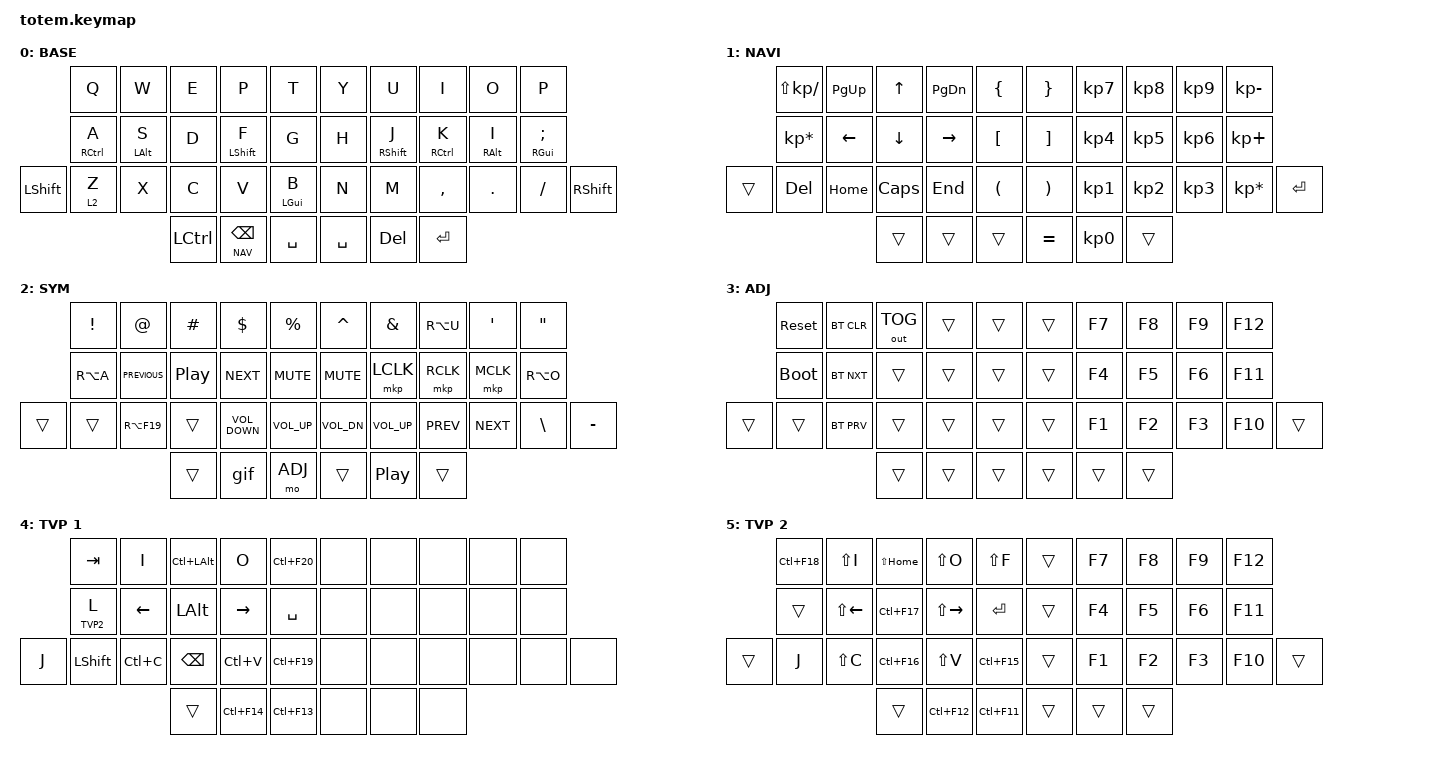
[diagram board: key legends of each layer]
//
//                                                        ▀▀▀▀▀     ▀▀▀▀▀          ▀▀█▀▀
//                                                        ▄▀▀▀▄  ▄  ▄▀▀▀▄  ▄  ▄▀▀▀▄  █  ▄▀▀▀▄
//                                                        █   █  █  █   █  █  █   █  █  █   █
//                                                         ▀▀▀   █   ▀▀▀   █   ▀▀▀   ▀   ▀▀▀
//                                                               █      ▄▄▄█▄▄▄    █   █  
//                                                               ▀      █  █  █     █▄█
//                                                             ▀▀▀▀▀    █  █  █      ▀
//                                                                      ▀  ▀  ▀
//
// ▄▄▄▄▄▄▄▄▄▄▄▄▄▄▄▄▄▄▄▄▄▄▄▄▄▄▄▄▄▄▄▄▄▄▄▄▄▄▄▄▄▄▄▄▄▄▄▄▄▄▄▄▄▄▄▄▄▄▄▄▄▄▄▄▄▄▄▄▄▄▄▄▄▄▄▄▄▄▄▄▄▄▄▄▄▄▄▄▄▄▄▄▄▄▄▄▄▄▄▄▄▄▄▄▄▄▄▄▄▄▄▄▄▄▄▄▄▄▄▄▄▄▄▄▄▄▄▄▄▄▄▄▄▄▄▄▄▄▄▄▄▄▄▄▄▄▄▄▄

#include <behaviors.dtsi>
#include <dt-bindings/zmk/bt.h>
#include <dt-bindings/zmk/keys.h>
#include <dt-bindings/zmk/outputs.h>
#include <dt-bindings/zmk/pointing.h>

#define BASE 0
#define NAV  1
#define SYM  2
#define ADJ  3
#define TVP1 4
#define TVP2 5

&mt {
    quick-tap-ms = <100>;
    global-quick-tap;
    flavor = "tap-preferred";
    tapping-term-ms = <170>;
};

/ {
    combos {
        compatible = "zmk,combos";

        combo_esc {
            timeout-ms = <50>;
            key-positions = <0 1>;
            bindings = <&kp ESC>;
        };

        combo_COPY {
            timeout-ms = <100>;
            key-positions = <22 23>;
            bindings = <&kp RC(C)>;
        };

        PAST {
            bindings = <&kp LC(V)>;
            key-positions = <23 24>;
        };

        CLIP {
            bindings = <&kp LC(X)>;
            key-positions = <21 22>;
        };

        UNGROUP {
            bindings = <&kp LA(LC(S))>;
            key-positions = <20 10>;
        };

        BACK_PAGE {
            bindings = <&kp LA(LEFT_ARROW)>;
            key-positions = <15 16>;
        };
    };

    macros {
        gif: gif {
            label = "giphy";
            compatible = "zmk,behavior-macro";
            #binding-cells = <0>;
            bindings =
                <&macro_press>,
                <&kp LSHFT>,
                <&macro_tap>,
                <&kp N2>,
                <&macro_release>,
                <&kp LSHFT>,
                <&macro_tap>,
                <&kp G &kp I &kp F>;
        };
    };

    keymap {
        compatible = "zmk,keymap";

        // ▄▄▄▄▄▄▄▄▄▄▄▄▄▄▄▄▄▄▄▄▄▄▄▄▄▄▄▄▄▄▄▄▄▄▄▄▄▄▄▄▄▄▄▄▄▄▄▄▄▄▄▄▄▄▄▄▄▄▄▄▄▄▄▄▄▄▄▄▄▄▄▄▄▄▄▄▄▄▄▄▄▄▄▄▄▄▄▄▄▄▄▄▄▄▄▄▄▄▄▄▄▄▄▄▄▄▄▄▄▄▄▄▄▄▄▄▄▄▄▄▄▄▄▄▄▄▄▄▄▄▄▄▄▄▄▄▄▄▄▄▄▄▄▄▄▄▄▄▄

        base_layer {
            // ┏━━━━━━━━━━━━━━━━━━━━━━━━━━━━━━━━━━━━━━━┓

            label = "BASE";

            // ┗━━━━━━━━━━━━━━━━━━━━━━━━━━━━━━━━━━━━━━━┛
            //             ┏━━━━━━━━━━━┳━━━━━━━━━━━┳━━━━━━━━━━━┳━━━━━━━━━━━┳━━━━━━━━━━━┓   ┏━━━━━━━━━━━┳━━━━━━━━━━━┳━━━━━━━━━━━┳━━━━━━━━━━━┳━━━━━━━━━━━┓
            //             ┃     Q     ┃     W     ┃     F     ┃     P     ┃     G     ┃   ┃     J     ┃     L     ┃     U     ┃     Y     ┃     ;     ┃
            //             ┣━━━━━━━━━━━╋━━━━━━━━━━━╋━━━━━━━━━━━╋━━━━━━━━━━━╋━━━━━━━━━━━┫   ┣━━━━━━━━━━━╋━━━━━━━━━━━╋━━━━━━━━━━━╋━━━━━━━━━━━╋━━━━━━━━━━━┫
            //             ┃     A     ┃     R     ┃     S     ┃     T     ┃     D     ┃   ┃     H     ┃     N     ┃     E     ┃     I     ┃     O     ┃
            // ┏━━━━━━━━━━━╋━━━━━━━━━━━╋━━━━━━━━━━━╋━━━━━━━━━━━╋━━━━━━━━━━━╋━━━━━━━━━━━┫   ┣━━━━━━━━━━━╋━━━━━━━━━━━╋━━━━━━━━━━━╋━━━━━━━━━━━╋━━━━━━━━━━━╋━━━━━━━━━━━┓
            // ┃     Q     ┃     Z     ┃     X     ┃     C     ┃     V     ┃     B     ┃   ┃     K     ┃     M     ┃     ,     ┃     .     ┃     /     ┃     \     ┃
            // ┗━━━━━━━━━━━┻━━━━━━━━━━━┻━━━━━━━━━━━╋━━━━━━━━━━━╋━━━━━━━━━━━╋━━━━━━━━━━━┫   ┣━━━━━━━━━━━╋━━━━━━━━━━━╋━━━━━━━━━━━╋━━━━━━━━━━━┻━━━━━━━━━━━┻━━━━━━━━━━━┛
            //                                     ┃    DEL    ┃    TAB    ┃    SPC    ┃   ┃   ENTER   ┃           ┃   BSPC    ┃
            //                                     ┗━━━━━━━━━━━┻━━━━━━━━━━━┻━━━━━━━━━━━┛   ┗━━━━━━━━━━━┻━━━━━━━━━━━┻━━━━━━━━━━━┛

            bindings = <
                &kp Q        &kp W       &kp E      &kp P              &kp T             &kp Y      &kp U        &kp I        &kp O       &kp P
                &mt RCTRL A  &mt LALT S  &kp D      &mt LSHFT F        &kp G             &kp H      &mt RSHFT J  &mt RCTRL K  &mt RALT I  &mt RGUI SEMICOLON
&kp LEFT_SHIFT  &lt 2 Z      &kp X       &kp C      &kp V              &mt LEFT_GUI B    &kp N      &kp M        &kp COMMA    &kp DOT     &kp FSLH            &kp RIGHT_SHIFT
                                         &kp LCTRL  &lt NAV BACKSPACE  &kp SPACE         &kp SPACE  &kp DELETE   &kp ENTER
            >;
        };

        // ▄▄▄▄▄▄▄▄▄▄▄▄▄▄▄▄▄▄▄▄▄▄▄▄▄▄▄▄▄▄▄▄▄▄▄▄▄▄▄▄▄▄▄▄▄▄▄▄▄▄▄▄▄▄▄▄▄▄▄▄▄▄▄▄▄▄▄▄▄▄▄▄▄▄▄▄▄▄▄▄▄▄▄▄▄▄▄▄▄▄▄▄▄▄▄▄▄▄▄▄▄▄▄▄▄▄▄▄▄▄▄▄▄▄▄▄▄▄▄▄▄▄▄▄▄▄▄▄▄▄▄▄▄▄▄▄▄▄▄▄▄▄▄▄▄▄▄▄▄

        nav_layer {
            // ┏━━━━━━━━━━━━━━━━━━━━━━━━━━━━━━━━━━━━━━━┓

            label = "NAVI";

            // ┗━━━━━━━━━━━━━━━━━━━━━━━━━━━━━━━━━━━━━━━┛
            //             ┏━━━━━━━━━━━┳━━━━━━━━━━━┳━━━━━━━━━━━┳━━━━━━━━━━━┳━━━━━━━━━━━┓   ┏━━━━━━━━━━━┳━━━━━━━━━━━┳━━━━━━━━━━━┳━━━━━━━━━━━┳━━━━━━━━━━━┓
            //             ┃           ┃           ┃     UP    ┃           ┃     {     ┃   ┃     }     ┃     7     ┃     8     ┃     9     ┃     +     ┃
            //             ┣━━━━━━━━━━━╋━━━━━━━━━━━╋━━━━━━━━━━━╋━━━━━━━━━━━╋━━━━━━━━━━━┫   ┣━━━━━━━━━━━╋━━━━━━━━━━━╋━━━━━━━━━━━╋━━━━━━━━━━━╋━━━━━━━━━━━┫
            //             ┃   SHIFT   ┃   LEFT    ┃    DOWN   ┃   RIGHT   ┃     [     ┃   ┃     ]     ┃     4     ┃     5     ┃     6     ┃     -     ┃
            // ┏━━━━━━━━━━━╋━━━━━━━━━━━╋━━━━━━━━━━━╋━━━━━━━━━━━╋━━━━━━━━━━━╋━━━━━━━━━━━┫   ┣━━━━━━━━━━━╋━━━━━━━━━━━╋━━━━━━━━━━━╋━━━━━━━━━━━╋━━━━━━━━━━━╋━━━━━━━━━━━┓
            // ┃           ┃           ┃   P UP    ┃  C LOCK   ┃  P DOWN   ┃     (     ┃   ┃     )     ┃     1     ┃     2     ┃     3     ┃     *     ┃           ┃
            // ┗━━━━━━━━━━━┻━━━━━━━━━━━┻━━━━━━━━━━━╋━━━━━━━━━━━╋━━━━━━━━━━━╋━━━━━━━━━━━┫   ┣━━━━━━━━━━━╋━━━━━━━━━━━╋━━━━━━━━━━━╋━━━━━━━━━━━┻━━━━━━━━━━━┻━━━━━━━━━━━┛
            //                                     ┃           ┃    TAB    ┃    SPC    ┃   ┃    DEL    ┃     0     ┃           ┃
            //                                     ┗━━━━━━━━━━━┻━━━━━━━━━━━┻━━━━━━━━━━━┛   ┗━━━━━━━━━━━┻━━━━━━━━━━━┻━━━━━━━━━━━┛

            bindings = <
        &kp LS(KP_DIVIDE)  &kp PAGE_UP  &kp UP    &kp PAGE_DOWN  &kp LBRC    &kp RBRC   &kp KP_N7  &kp KP_N8  &kp KP_N9  &kp KP_MINUS
        &kp KP_MULTIPLY    &kp LEFT     &kp DOWN  &kp RIGHT      &kp LBKT    &kp RBKT   &kp KP_N4  &kp KP_N5  &kp KP_N6  &kp KP_PLUS
&trans  &kp DEL            &kp HOME     &kp CAPS  &kp END        &kp LPAR    &kp RPAR   &kp KP_N1  &kp KP_N2  &kp KP_N3  &kp KP_MULTIPLY  &kp ENTER
                                        &trans    &trans         &trans      &kp EQUAL  &kp KP_N0  &trans
            >;
        };

        // ▄▄▄▄▄▄▄▄▄▄▄▄▄▄▄▄▄▄▄▄▄▄▄▄▄▄▄▄▄▄▄▄▄▄▄▄▄▄▄▄▄▄▄▄▄▄▄▄▄▄▄▄▄▄▄▄▄▄▄▄▄▄▄▄▄▄▄▄▄▄▄▄▄▄▄▄▄▄▄▄▄▄▄▄▄▄▄▄▄▄▄▄▄▄▄▄▄▄▄▄▄▄▄▄▄▄▄▄▄▄▄▄▄▄▄▄▄▄▄▄▄▄▄▄▄▄▄▄▄▄▄▄▄▄▄▄▄▄▄▄▄▄▄▄▄▄▄▄▄

        sim_layer {
            // ┏━━━━━━━━━━━━━━━━━━━━━━━━━━━━━━━━━━━━━━━┓

            label = "SYM";

            // ┗━━━━━━━━━━━━━━━━━━━━━━━━━━━━━━━━━━━━━━━┛
            //             ┏━━━━━━━━━━━┳━━━━━━━━━━━┳━━━━━━━━━━━┳━━━━━━━━━━━┳━━━━━━━━━━━┓   ┏━━━━━━━━━━━┳━━━━━━━━━━━┳━━━━━━━━━━━┳━━━━━━━━━━━┳━━━━━━━━━━━┓
            //             ┃     !     ┃     @     ┃     #     ┃     $     ┃     %     ┃   ┃     ˆ     ┃     &     ┃     Ü     ┃     '     ┃     "     ┃
            //             ┣━━━━━━━━━━━╋━━━━━━━━━━━╋━━━━━━━━━━━╋━━━━━━━━━━━╋━━━━━━━━━━━┫   ┣━━━━━━━━━━━╋━━━━━━━━━━━╋━━━━━━━━━━━╋━━━━━━━━━━━╋━━━━━━━━━━━┫
            //             ┃     Ä     ┃           ┃    SZ     ┃           ┃           ┃   ┃   MUTE    ┃   YEN     ┃   EURO    ┃  POUND    ┃     Ö     ┃
            // ┏━━━━━━━━━━━╋━━━━━━━━━━━╋━━━━━━━━━━━╋━━━━━━━━━━━╋━━━━━━━━━━━╋━━━━━━━━━━━┫   ┣━━━━━━━━━━━╋━━━━━━━━━━━╋━━━━━━━━━━━╋━━━━━━━━━━━╋━━━━━━━━━━━╋━━━━━━━━━━━┓
            // ┃           ┃  EMAIL1   ┃  EMAIL2   ┃           ┃           ┃           ┃   ┃   VOL-    ┃   VOL+    ┃   LAST    ┃   NEXT    ┃     \     ┃           ┃
            // ┗━━━━━━━━━━━┻━━━━━━━━━━━┻━━━━━━━━━━━╋━━━━━━━━━━━╋━━━━━━━━━━━╋━━━━━━━━━━━┫   ┣━━━━━━━━━━━╋━━━━━━━━━━━╋━━━━━━━━━━━╋━━━━━━━━━━━┻━━━━━━━━━━━┻━━━━━━━━━━━┛
            //                                     ┃           ┃    GIF    ┃    ADJ    ┃   ┃           ┃           ┃           ┃
            //                                     ┗━━━━━━━━━━━┻━━━━━━━━━━━┻━━━━━━━━━━━┛   ┗━━━━━━━━━━━┻━━━━━━━━━━━┻━━━━━━━━━━━┛

            bindings = <
        &kp EXCL   &kp AT          &kp HASH          &kp DLLR           &kp PRCNT          &kp CARET     &kp AMPS      &kp RA(U)   &kp SQT     &kp DQT
        &kp RA(A)  &kp C_PREVIOUS  &kp C_PLAY_PAUSE  &kp C_NEXT         &kp K_MUTE         &kp C_MUTE    &mkp LCLK     &mkp RCLK   &mkp MCLK   &kp RA(O)
&trans  &trans     &kp RA(F19)     &trans            &kp C_VOLUME_DOWN  &kp C_VOLUME_UP    &kp C_VOL_DN  &kp C_VOL_UP  &kp C_PREV  &kp C_NEXT  &kp BSLH   &kp MINUS
                                   &trans            &gif               &mo ADJ            &trans        &kp C_PP      &trans
            >;
        };

        // ▄▄▄▄▄▄▄▄▄▄▄▄▄▄▄▄▄▄▄▄▄▄▄▄▄▄▄▄▄▄▄▄▄▄▄▄▄▄▄▄▄▄▄▄▄▄▄▄▄▄▄▄▄▄▄▄▄▄▄▄▄▄▄▄▄▄▄▄▄▄▄▄▄▄▄▄▄▄▄▄▄▄▄▄▄▄▄▄▄▄▄▄▄▄▄▄▄▄▄▄▄▄▄▄▄▄▄▄▄▄▄▄▄▄▄▄▄▄▄▄▄▄▄▄▄▄▄▄▄▄▄▄▄▄▄▄▄▄▄▄▄▄▄▄▄▄▄▄▄

        adjust_layer {
            // ┏━━━━━━━━━━━━━━━━━━━━━━━━━━━━━━━━━━━━━━━┓

            label = "ADJ";

            // ┗━━━━━━━━━━━━━━━━━━━━━━━━━━━━━━━━━━━━━━━┛
            //             ┏━━━━━━━━━━━┳━━━━━━━━━━━┳━━━━━━━━━━━┳━━━━━━━━━━━┳━━━━━━━━━━━┓   ┏━━━━━━━━━━━┳━━━━━━━━━━━┳━━━━━━━━━━━┳━━━━━━━━━━━┳━━━━━━━━━━━┓
            //             ┃   RESET   ┃ BT CLEAR  ┃  OUT TOG  ┃           ┃           ┃   ┃           ┃    F7     ┃    F8     ┃    F9     ┃    F12    ┃
            //             ┣━━━━━━━━━━━╋━━━━━━━━━━━╋━━━━━━━━━━━╋━━━━━━━━━━━╋━━━━━━━━━━━┫   ┣━━━━━━━━━━━╋━━━━━━━━━━━╋━━━━━━━━━━━╋━━━━━━━━━━━╋━━━━━━━━━━━┫
            //             ┃ BOOTLOAD  ┃ BT NEXT   ┃           ┃           ┃           ┃   ┃           ┃    F4     ┃    F5     ┃    F6     ┃    F11    ┃
            // ┏━━━━━━━━━━━╋━━━━━━━━━━━╋━━━━━━━━━━━╋━━━━━━━━━━━╋━━━━━━━━━━━╋━━━━━━━━━━━┫   ┣━━━━━━━━━━━╋━━━━━━━━━━━╋━━━━━━━━━━━╋━━━━━━━━━━━╋━━━━━━━━━━━╋━━━━━━━━━━━┓
            // ┃           ┃           ┃ BT PREV   ┃           ┃           ┃           ┃   ┃           ┃    F1     ┃    F2     ┃    F3     ┃    F10    ┃           ┃
            // ┗━━━━━━━━━━━┻━━━━━━━━━━━┻━━━━━━━━━━━╋━━━━━━━━━━━╋━━━━━━━━━━━╋━━━━━━━━━━━┫   ┣━━━━━━━━━━━╋━━━━━━━━━━━╋━━━━━━━━━━━╋━━━━━━━━━━━┻━━━━━━━━━━━┻━━━━━━━━━━━┛
            //                                     ┃           ┃           ┃           ┃   ┃           ┃           ┃           ┃
            //                                     ┗━━━━━━━━━━━┻━━━━━━━━━━━┻━━━━━━━━━━━┛   ┗━━━━━━━━━━━┻━━━━━━━━━━━┻━━━━━━━━━━━┛

            bindings = <
        &sys_reset   &bt BT_CLR  &out OUT_TOG  &trans  &trans    &trans  &kp F7  &kp F8  &kp F9  &kp F12
        &bootloader  &bt BT_NXT  &trans        &trans  &trans    &trans  &kp F4  &kp F5  &kp F6  &kp F11
&trans  &trans       &bt BT_PRV  &trans        &trans  &trans    &trans  &kp F1  &kp F2  &kp F3  &kp F10  &trans
                                 &trans        &trans  &trans    &trans  &trans  &trans
            >;
        };

        // ▄▄▄▄▄▄▄▄▄▄▄▄▄▄▄▄▄▄▄▄▄▄▄▄▄▄▄▄▄▄▄▄▄▄▄▄▄▄▄▄▄▄▄▄▄▄▄▄▄▄▄▄▄▄▄▄▄▄▄▄▄▄▄▄▄▄▄▄▄▄▄▄▄▄▄▄▄▄▄▄▄▄▄▄▄▄▄▄▄▄▄▄▄▄▄▄▄▄▄▄▄▄▄▄▄▄▄▄▄▄▄▄▄▄▄▄▄▄▄▄▄▄▄▄▄▄▄▄▄▄▄▄▄▄▄▄▄▄▄▄▄▄▄▄▄▄▄▄▄

        tvp1_layer {
            // ┏━━━━━━━━━━━━━━━━━━━━━━━━━━━━━━━━━━━━━━━┓

            label = "TVP 1";

            // ┗━━━━━━━━━━━━━━━━━━━━━━━━━━━━━━━━━━━━━━━┛
            //             ┏━━━━━━━━━━━┳━━━━━━━━━━━┳━━━━━━━━━━━┳━━━━━━━━━━━┳━━━━━━━━━━━┓   ┏━━━━━━━━━━━┳━━━━━━━━━━━┳━━━━━━━━━━━┳━━━━━━━━━━━┳━━━━━━━━━━━┓
            //             ┃ NEXT FILE ┃ MARK IN   ┃ ROTATE    ┃ MARK OUT  ┃ SHOW SNAP ┃   ┃           ┃           ┃           ┃           ┃           ┃
            //             ┣━━━━━━━━━━━╋━━━━━━━━━━━╋━━━━━━━━━━━╋━━━━━━━━━━━╋━━━━━━━━━━━┫   ┣━━━━━━━━━━━╋━━━━━━━━━━━╋━━━━━━━━━━━╋━━━━━━━━━━━╋━━━━━━━━━━━┫
            //             ┃ TVP II    ┃ LEFT      ┃ PAN       ┃ RIGHT     ┃ PLAY/FLIP ┃   ┃           ┃           ┃           ┃           ┃           ┃
            // ┏━━━━━━━━━━━╋━━━━━━━━━━━╋━━━━━━━━━━━╋━━━━━━━━━━━╋━━━━━━━━━━━╋━━━━━━━━━━━┫   ┣━━━━━━━━━━━╋━━━━━━━━━━━╋━━━━━━━━━━━╋━━━━━━━━━━━╋━━━━━━━━━━━╋━━━━━━━━━━━┓
            // ┃ FULLSCR   ┃ SHIFT     ┃ COPY      ┃ DELETE    ┃ PASTE     ┃ IMG MARK  ┃   ┃           ┃           ┃           ┃           ┃           ┃           ┃
            // ┗━━━━━━━━━━━┻━━━━━━━━━━━┻━━━━━━━━━━━╋━━━━━━━━━━━╋━━━━━━━━━━━╋━━━━━━━━━━━┫   ┣━━━━━━━━━━━╋━━━━━━━━━━━╋━━━━━━━━━━━╋━━━━━━━━━━━┻━━━━━━━━━━━┻━━━━━━━━━━━┛
            //                                     ┃           ┃ UNDO/SAVE ┃  SEL/MOV  ┃   ┃           ┃           ┃           ┃
            //                                     ┗━━━━━━━━━━━┻━━━━━━━━━━━┻━━━━━━━━━━━┛   ┗━━━━━━━━━━━┻━━━━━━━━━━━┻━━━━━━━━━━━┛

            bindings = <
       &kp TAB     &kp I      &kp LC(LALT)  &kp O        &kp LC(F20)    &none  &none  &none  &none  &none
       &lt TVP2 L  &kp LEFT   &kp LALT      &kp RIGHT    &kp SPACE      &none  &none  &none  &none  &none
&kp J  &kp LSHFT   &kp LC(C)  &kp BSPC      &kp LC(V)    &kp LC(F19)    &none  &none  &none  &none  &none  &none
                              &trans        &kp LC(F14)  &kp LC(F13)    &none  &none  &none
            >;
        };

        // ▄▄▄▄▄▄▄▄▄▄▄▄▄▄▄▄▄▄▄▄▄▄▄▄▄▄▄▄▄▄▄▄▄▄▄▄▄▄▄▄▄▄▄▄▄▄▄▄▄▄▄▄▄▄▄▄▄▄▄▄▄▄▄▄▄▄▄▄▄▄▄▄▄▄▄▄▄▄▄▄▄▄▄▄▄▄▄▄▄▄▄▄▄▄▄▄▄▄▄▄▄▄▄▄▄▄▄▄▄▄▄▄▄▄▄▄▄▄▄▄▄▄▄▄▄▄▄▄▄▄▄▄▄▄▄▄▄▄▄▄▄▄▄▄▄▄▄▄▄

        tvp2_layer {
            // ┏━━━━━━━━━━━━━━━━━━━━━━━━━━━━━━━━━━━━━━━┓

            label = "TVP 2";

            // ┗━━━━━━━━━━━━━━━━━━━━━━━━━━━━━━━━━━━━━━━┛
            //             ┏━━━━━━━━━━━┳━━━━━━━━━━━┳━━━━━━━━━━━┳━━━━━━━━━━━┳━━━━━━━━━━━┓   ┏━━━━━━━━━━━┳━━━━━━━━━━━┳━━━━━━━━━━━┳━━━━━━━━━━━┳━━━━━━━━━━━┓
            //             ┃ SOLO      ┃ TOGGLE IN ┃ RESET ROT ┃ TOGGLE OUT┃ TAKE SNAP ┃   ┃           ┃           ┃           ┃           ┃           ┃
            //             ┣━━━━━━━━━━━╋━━━━━━━━━━━╋━━━━━━━━━━━╋━━━━━━━━━━━╋━━━━━━━━━━━┫   ┣━━━━━━━━━━━╋━━━━━━━━━━━╋━━━━━━━━━━━╋━━━━━━━━━━━╋━━━━━━━━━━━┫
            //             ┃ ---       ┃ LAST KEY  ┃ NEW KEY   ┃ NEXT KEY  ┃ ENTER     ┃   ┃           ┃           ┃           ┃           ┃           ┃
            // ┏━━━━━━━━━━━╋━━━━━━━━━━━╋━━━━━━━━━━━╋━━━━━━━━━━━╋━━━━━━━━━━━╋━━━━━━━━━━━┫   ┣━━━━━━━━━━━╋━━━━━━━━━━━╋━━━━━━━━━━━╋━━━━━━━━━━━╋━━━━━━━━━━━╋━━━━━━━━━━━┓
            // ┃           ┃ FULLSCR   ┃ CPY2BRUSH ┃ DEL HEAD  ┃ PSTinPLACE┃ BOOK MARK ┃   ┃           ┃           ┃           ┃           ┃           ┃           ┃
            // ┗━━━━━━━━━━━┻━━━━━━━━━━━┻━━━━━━━━━━━╋━━━━━━━━━━━╋━━━━━━━━━━━╋━━━━━━━━━━━┫   ┣━━━━━━━━━━━╋━━━━━━━━━━━╋━━━━━━━━━━━╋━━━━━━━━━━━┻━━━━━━━━━━━┻━━━━━━━━━━━┛
            //                                     ┃           ┃ REDO/SAV1 ┃TRANS/WARP ┃   ┃           ┃           ┃           ┃
            //                                     ┗━━━━━━━━━━━┻━━━━━━━━━━━┻━━━━━━━━━━━┛   ┗━━━━━━━━━━━┻━━━━━━━━━━━┻━━━━━━━━━━━┛

            bindings = <
        &kp LC(F18)  &kp LS(I)     &kp LS(HOME)  &kp LS(O)      &kp LS(F)      &trans  &kp F7  &kp F8  &kp F9  &kp F12
        &trans       &kp LS(LEFT)  &kp LC(F17)   &kp LS(RIGHT)  &kp RET        &trans  &kp F4  &kp F5  &kp F6  &kp F11
&trans  &kp J        &kp LS(C)     &kp LC(F16)   &kp LS(V)      &kp LC(F15)    &trans  &kp F1  &kp F2  &kp F3  &kp F10  &trans
                                   &trans        &kp LC(F12)    &kp LC(F11)    &trans  &trans  &trans
            >;
        };
    };
};
